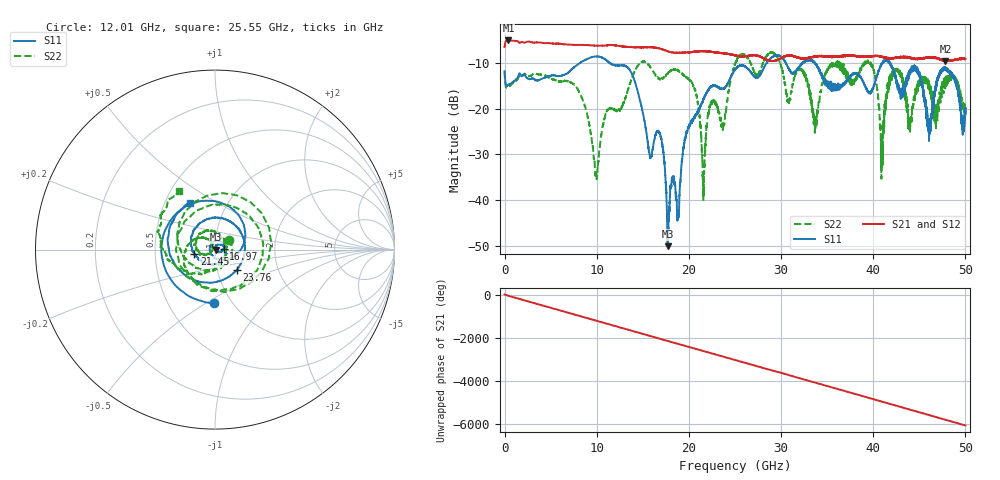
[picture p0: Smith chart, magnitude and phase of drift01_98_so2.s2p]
!Created with skrf (http://scikit-rf.org).
# Hz S RI R 50.0
!freq ReS11 ImS11 ReS21 ImS21 ReS12 ImS12 ReS22 ImS22
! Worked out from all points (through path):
!   10001 points, 300 kHz to 50 GHz, reference 50 ohm
!   highest |S21| = -5.05 dB at 420.3 MHz (marker M1); lowest = -9.6 dB at 47.84 GHz (marker M2)
!   group delay of S21, straight-line fit = 336 ps
!   lowest |S11| = -50.1 dB at 17.69 GHz (marker M3), VSWR 1.01, Z = 50.3 - j0.0876 ohm
!   |S11| at or under -10 dB: start of sweep to 8.164 GHz; 11.44 GHz to 28.42 GHz (16.98 GHz wide, 85.2 % of centre); 41.8 GHz to end of sweep (the widest 3 of 12)
!   |S22| runs from -40.0 to -7.6 dB; largest |S21 - S12| = 0.016
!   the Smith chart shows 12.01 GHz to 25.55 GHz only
!   S11 on the Smith chart (normalised r, x): 12.01 GHz: 0.83, -0.54; 16.97 GHz: 1.10, +0.01; 21.45 GHz: 0.79, -0.04; 23.76 GHz: 1.24, -0.29; 25.55 GHz: 0.67, +0.39
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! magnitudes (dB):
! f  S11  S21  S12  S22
! 300 kHz  -11.8  -6.5  -6.5  -11.8
! 420.3 MHz  -14.8  -5.1  -5.1  -15.2
! 8.335 GHz  -9.8  -6.0  -6.0  -17.5
! 9.935 GHz  -8.5  -6.2  -6.2  -34.3
! 12.01 GHz  -10.5  -6.1  -6.1  -20.4
! 16.67 GHz  -24.8  -6.8  -6.8  -13.3
! 16.97 GHz  -26.3  -6.9  -6.9  -13.4
! 17.69 GHz  -50.1  -7.4  -7.4  -12.3
! 20.5 GHz  -22.3  -7.6  -7.5  -15.0
! 21.45 GHz  -18.6  -7.4  -7.4  -30.8
! 22.46 GHz  -15.1  -7.6  -7.6  -18.8
! 23.76 GHz  -15.6  -7.9  -7.9  -23.3
! 25 GHz  -11.4  -8.3  -8.3  -10.3
! 25.55 GHz  -10.6  -8.5  -8.5  -8.4
! 33.34 GHz  -9.4  -8.7  -8.7  -19.0
! 39.51 GHz  -16.4  -8.6  -8.6  -9.9
! 40.95 GHz  -10.1  -8.6  -8.5  -27.6
! 41.67 GHz  -9.7  -8.8  -8.9  -14.6
! 44.77 GHz  -11.3  -9.1  -9.0  -14.7
! 46.11 GHz  -24.8  -8.8  -8.8  -16.2
! 47.84 GHz  -11.2  -9.6  -9.6  -14.3
! 50 GHz  -21.4  -9.1  -9.1  -20.1
